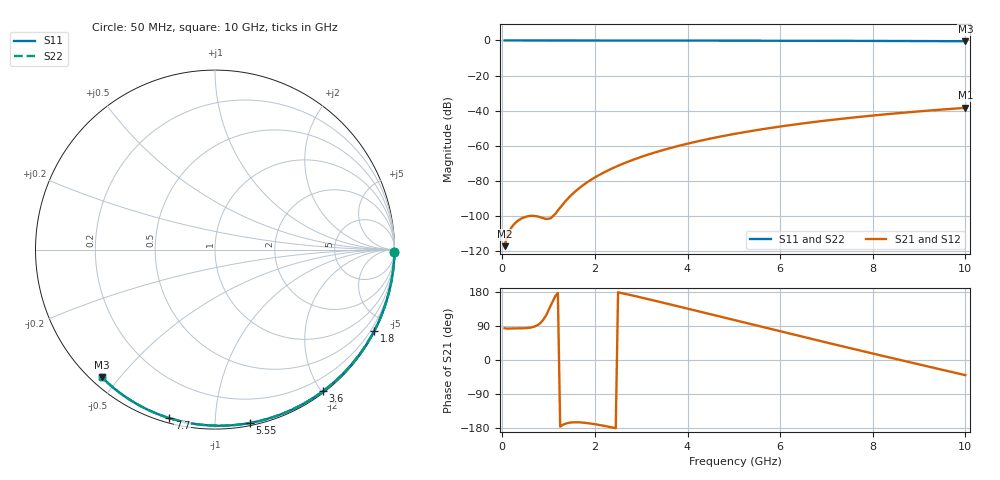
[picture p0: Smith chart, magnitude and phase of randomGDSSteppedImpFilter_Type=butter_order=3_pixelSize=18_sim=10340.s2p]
! freq	dB(S11)	phase(S11)	dB(S12)	phase(S12)
!  dB(S21)	phase(S21)	dB(S22)	phase(S22)
!S-par simulation data
#  GHz  S  DB  R 50
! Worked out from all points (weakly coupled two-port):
!   200 points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, 50 MHz to 10 GHz, reference 50 ohm
!   highest |S21| = -38.40 dB at 10 GHz (marker M1); lowest = -117.3 dB at 50 MHz (marker M2)
!   lowest |S11| = -0.4 dB at 10 GHz (marker M3), VSWR 39.21, Z = 1.53 - j22.5 ohm
!   |S11| at or under -10 dB: nowhere
!   |S22| runs from -0.4 to 0.0 dB; largest |S21 - S12| = 0
!   S11 on the Smith chart (normalised r, x): 50 MHz: open; 1.8 GHz: 0.04, -4.17; 3.6 GHz: 0.02, -2.02; 5.55 GHz: 0.02, -1.22; 7.7 GHz: 0.02, -0.77; 10 GHz: 0.03, -0.45
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0.05  -0.00 -0.8  -117.26 83.9  -117.26 83.9  -0.00 -0.8
0.9  -0.02 -13.6  -101.43 109.1  -101.43 109.1  -0.02 -13.6
1.75  -0.03 -26.2  -82.39 -165.3  -82.39 -165.3  -0.03 -26.2
1.8  -0.03 -27.0  -81.44 -165.9  -81.44 -165.9  -0.03 -27.0
1.85  -0.04 -27.7  -80.55 -166.7  -80.55 -166.7  -0.04 -27.7
1.9  -0.04 -28.4  -79.69 -167.5  -79.69 -167.5  -0.04 -28.4
2.05  -0.04 -30.6  -77.30 -170.4  -77.30 -170.4  -0.04 -30.6
2.25  -0.04 -33.5  -74.49 -175.0  -74.49 -175.0  -0.04 -33.5
2.45  -0.05 -36.4  -72.00 -180.0  -72.00 -180.0  -0.05 -36.4
2.65  -0.05 -39.3  -69.78 174.7  -69.78 174.7  -0.05 -39.3
3  -0.06 -44.3  -66.36 164.9  -66.36 164.9  -0.06 -44.3
3.4  -0.07 -49.9  -63.02 153.3  -63.02 153.3  -0.07 -49.9
3.6  -0.07 -52.7  -61.53 147.5  -61.53 147.5  -0.07 -52.7
4.3  -0.09 -62.3  -57.02 126.6  -57.02 126.6  -0.09 -62.3
5.05  -0.11 -72.3  -53.09 104.2  -53.09 104.2  -0.11 -72.3
5.55  -0.13 -78.7  -50.86 89.2  -50.86 89.2  -0.13 -78.7
6.1  -0.15 -85.7  -48.68 72.8  -48.68 72.8  -0.15 -85.7
6.7  -0.18 -93.1  -46.58 55.0  -46.58 55.0  -0.18 -93.1
7.7  -0.24 -105.1  -43.59 25.8  -43.59 25.8  -0.24 -105.1
8.35  -0.29 -112.7  -41.92 7.0  -41.92 7.0  -0.29 -112.7
9.15  -0.36 -121.9  -40.10 -15.9  -40.10 -15.9  -0.36 -121.9
10  -0.44 -131.5  -38.40 -40.0  -38.40 -40.0  -0.44 -131.5
